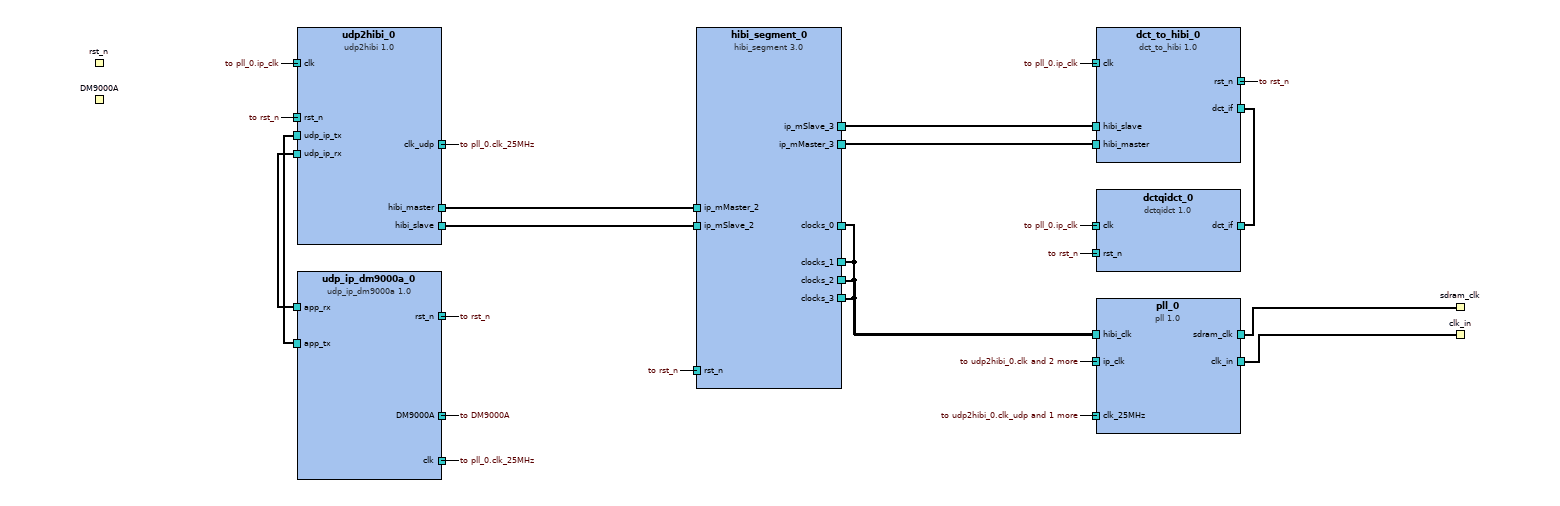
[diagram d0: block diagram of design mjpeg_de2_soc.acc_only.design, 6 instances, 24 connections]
<?xml version="1.0" encoding="UTF-8"?>
<!-- Created by Kactus2 - Open source IP-Xact toolset -->
<!-- http://sourceforge.net/projects/kactus2/ -->
<!-- Date: 04.07.2012 -->
<!-- Time: 13:13:33 -->
<spirit:design xmlns:kactus2="http://funbase.cs.tut.fi/" xmlns:spirit="http://www.spiritconsortium.org/XMLSchema/SPIRIT/1.5" xmlns:xsi="http://www.w3.org/2001/XMLSchema-instance" xsi:schemaLocation="http://www.spiritconsortium.org/XMLSchema/SPIRIT/1.5 http://www.spiritconsortium.org/XMLSchema/SPIRIT/1.5/index.xsd"><spirit:vendor>TUT</spirit:vendor><spirit:library>soc</spirit:library><spirit:name>mjpeg_de2_soc.acc_only.design</spirit:name>
 <spirit:version>1.0</spirit:version><spirit:componentInstances>
 <spirit:componentInstance><spirit:instanceName>pll_0</spirit:instanceName><spirit:componentRef spirit:vendor="TUT" spirit:library="ip.hwp.misc" spirit:name="pll" spirit:version="1.0"/></spirit:componentInstance>
 <spirit:componentInstance><spirit:instanceName>dct_to_hibi_0</spirit:instanceName><spirit:componentRef spirit:vendor="TUT" spirit:library="ip.hwp.accelerator" spirit:name="dct_to_hibi" spirit:version="1.0"/></spirit:componentInstance>
 <spirit:componentInstance><spirit:instanceName>dctqidct_0</spirit:instanceName><spirit:componentRef spirit:vendor="TUT" spirit:library="ip.hwp.accelerator" spirit:name="dctqidct" spirit:version="1.0"/></spirit:componentInstance>
 <spirit:componentInstance><spirit:instanceName>hibi_segment_0</spirit:instanceName><spirit:componentRef spirit:vendor="TUT" spirit:library="ip.hwp.communication" spirit:name="hibi_segment" spirit:version="3.0"/></spirit:componentInstance>
 <spirit:componentInstance><spirit:instanceName>udp2hibi_0</spirit:instanceName><spirit:componentRef spirit:vendor="TUT" spirit:library="ip.hwp.interface" spirit:name="udp2hibi" spirit:version="1.0"/></spirit:componentInstance>
 <spirit:componentInstance><spirit:instanceName>udp_ip_dm9000a_0</spirit:instanceName><spirit:componentRef spirit:vendor="TUT" spirit:library="ip.hwp.interface" spirit:name="udp_ip_dm9000a" spirit:version="1.0"/></spirit:componentInstance>
</spirit:componentInstances><spirit:interconnections>
 <spirit:interconnection><spirit:name>udp2hibi_0_clk_udp_to_pll_0_clk_25MHz</spirit:name><spirit:activeInterface spirit:componentRef="udp2hibi_0" spirit:busRef="clk_udp"/><spirit:activeInterface spirit:componentRef="pll_0" spirit:busRef="clk_25MHz"/></spirit:interconnection>
 <spirit:interconnection><spirit:name>pll_0_clk_25MHz_to_udp_ip_dm9000a_0_clk</spirit:name><spirit:activeInterface spirit:componentRef="pll_0" spirit:busRef="clk_25MHz"/><spirit:activeInterface spirit:componentRef="udp_ip_dm9000a_0" spirit:busRef="clk"/></spirit:interconnection>
 <spirit:interconnection><spirit:name>pll_0_hibi_clk_to_hibi_segment_0_clocks_1</spirit:name><spirit:activeInterface spirit:componentRef="pll_0" spirit:busRef="hibi_clk"/><spirit:activeInterface spirit:componentRef="hibi_segment_0" spirit:busRef="clocks_1"/></spirit:interconnection>
 <spirit:interconnection><spirit:name>pll_0_hibi_clk_to_hibi_segment_0_clocks_0</spirit:name><spirit:activeInterface spirit:componentRef="pll_0" spirit:busRef="hibi_clk"/><spirit:activeInterface spirit:componentRef="hibi_segment_0" spirit:busRef="clocks_0"/></spirit:interconnection>
 <spirit:interconnection><spirit:name>udp2hibi_0_hibi_slave_to_hibi_segment_0_ip_mSlave_2</spirit:name><spirit:activeInterface spirit:componentRef="udp2hibi_0" spirit:busRef="hibi_slave"/><spirit:activeInterface spirit:componentRef="hibi_segment_0" spirit:busRef="ip_mSlave_2"/></spirit:interconnection>
 <spirit:interconnection><spirit:name>udp2hibi_0_hibi_master_to_hibi_segment_0_ip_mMaster_2</spirit:name><spirit:activeInterface spirit:componentRef="udp2hibi_0" spirit:busRef="hibi_master"/><spirit:activeInterface spirit:componentRef="hibi_segment_0" spirit:busRef="ip_mMaster_2"/></spirit:interconnection>
 <spirit:interconnection><spirit:name>hibi_segment_0_clocks_2_to_pll_0_hibi_clk</spirit:name><spirit:activeInterface spirit:componentRef="hibi_segment_0" spirit:busRef="clocks_2"/><spirit:activeInterface spirit:componentRef="pll_0" spirit:busRef="hibi_clk"/></spirit:interconnection>
 <spirit:interconnection><spirit:name>udp2hibi_0_clk_to_pll_0_ip_clk</spirit:name><spirit:activeInterface spirit:componentRef="udp2hibi_0" spirit:busRef="clk"/><spirit:activeInterface spirit:componentRef="pll_0" spirit:busRef="ip_clk"/></spirit:interconnection>
 <spirit:interconnection><spirit:name>udp_ip_dm9000a_0_app_tx_to_udp2hibi_0_udp_ip_tx</spirit:name><spirit:activeInterface spirit:componentRef="udp_ip_dm9000a_0" spirit:busRef="app_tx"/><spirit:activeInterface spirit:componentRef="udp2hibi_0" spirit:busRef="udp_ip_tx"/></spirit:interconnection>
 <spirit:interconnection><spirit:name>udp_ip_dm9000a_0_app_rx_to_udp2hibi_0_udp_ip_rx</spirit:name><spirit:activeInterface spirit:componentRef="udp_ip_dm9000a_0" spirit:busRef="app_rx"/><spirit:activeInterface spirit:componentRef="udp2hibi_0" spirit:busRef="udp_ip_rx"/></spirit:interconnection>
 <spirit:interconnection><spirit:name>dct_to_hibi_0_clk_to_pll_0_ip_clk</spirit:name><spirit:activeInterface spirit:componentRef="dct_to_hibi_0" spirit:busRef="clk"/><spirit:activeInterface spirit:componentRef="pll_0" spirit:busRef="ip_clk"/></spirit:interconnection>
 <spirit:interconnection><spirit:name>dct_to_hibi_0_hibi_master_to_hibi_segment_0_ip_mMaster_3</spirit:name><spirit:activeInterface spirit:componentRef="dct_to_hibi_0" spirit:busRef="hibi_master"/><spirit:activeInterface spirit:componentRef="hibi_segment_0" spirit:busRef="ip_mMaster_3"/></spirit:interconnection>
 <spirit:interconnection><spirit:name>dct_to_hibi_0_hibi_slave_to_hibi_segment_0_ip_mSlave_3</spirit:name><spirit:activeInterface spirit:componentRef="dct_to_hibi_0" spirit:busRef="hibi_slave"/><spirit:activeInterface spirit:componentRef="hibi_segment_0" spirit:busRef="ip_mSlave_3"/></spirit:interconnection>
 <spirit:interconnection><spirit:name>hibi_segment_0_clocks_3_to_pll_0_hibi_clk</spirit:name><spirit:activeInterface spirit:componentRef="hibi_segment_0" spirit:busRef="clocks_3"/><spirit:activeInterface spirit:componentRef="pll_0" spirit:busRef="hibi_clk"/></spirit:interconnection>
 <spirit:interconnection><spirit:name>dct_to_hibi_0_dct_if_to_dctqidct_0_dct_if</spirit:name><spirit:activeInterface spirit:componentRef="dct_to_hibi_0" spirit:busRef="dct_if"/><spirit:activeInterface spirit:componentRef="dctqidct_0" spirit:busRef="dct_if"/></spirit:interconnection>
 <spirit:interconnection><spirit:name>dctqidct_0_clk_to_pll_0_ip_clk</spirit:name><spirit:activeInterface spirit:componentRef="dctqidct_0" spirit:busRef="clk"/><spirit:activeInterface spirit:componentRef="pll_0" spirit:busRef="ip_clk"/></spirit:interconnection>
</spirit:interconnections><spirit:hierConnections>
 <spirit:hierConnection spirit:interfaceRef="sdram_clk"><spirit:interface spirit:componentRef="pll_0" spirit:busRef="sdram_clk"/></spirit:hierConnection>
 <spirit:hierConnection spirit:interfaceRef="rst_n"><spirit:interface spirit:componentRef="hibi_segment_0" spirit:busRef="rst_n"/></spirit:hierConnection>
 <spirit:hierConnection spirit:interfaceRef="clk_in"><spirit:interface spirit:componentRef="pll_0" spirit:busRef="clk_in"/></spirit:hierConnection>
 <spirit:hierConnection spirit:interfaceRef="rst_n"><spirit:interface spirit:componentRef="udp2hibi_0" spirit:busRef="rst_n"/></spirit:hierConnection>
 <spirit:hierConnection spirit:interfaceRef="rst_n"><spirit:interface spirit:componentRef="udp_ip_dm9000a_0" spirit:busRef="rst_n"/></spirit:hierConnection>
 <spirit:hierConnection spirit:interfaceRef="rst_n"><spirit:interface spirit:componentRef="dct_to_hibi_0" spirit:busRef="rst_n"/></spirit:hierConnection>
 <spirit:hierConnection spirit:interfaceRef="DM9000A"><spirit:interface spirit:componentRef="udp_ip_dm9000a_0" spirit:busRef="DM9000A"/></spirit:hierConnection>
 <spirit:hierConnection spirit:interfaceRef="rst_n"><spirit:interface spirit:componentRef="dctqidct_0" spirit:busRef="rst_n"/></spirit:hierConnection>
</spirit:hierConnections></spirit:design>

